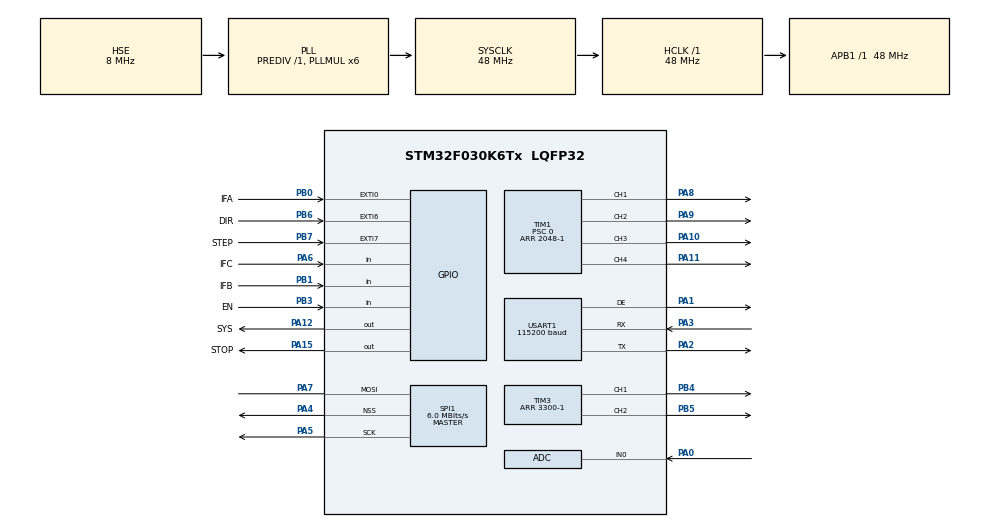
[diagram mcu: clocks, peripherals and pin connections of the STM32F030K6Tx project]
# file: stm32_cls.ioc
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ADC.ClockPrescaler=ADC_CLOCK_ASYNC_DIV1
ADC.ContinuousConvMode=ENABLE
ADC.DMAContinuousRequests=ENABLE
ADC.DataAlign=ADC_DATAALIGN_RIGHT
ADC.DiscontinuousConvMode=DISABLE
ADC.EOCSelection=ADC_EOC_SEQ_CONV
ADC.EnableAnalogWatchDog=false
ADC.ExternalTrigConv=ADC_SOFTWARE_START
ADC.ExternalTrigConvEdge=ADC_EXTERNALTRIGCONVEDGE_NONE
ADC.LowPowerAutoPowerOff=DISABLE
ADC.LowPowerAutoWait=DISABLE
ADC.Overrun=ADC_OVR_DATA_PRESERVED
ADC.Resolution=ADC_RESOLUTION_12B
ADC.SamplingTime=ADC_SAMPLETIME_55CYCLES_5
ADC.ScanConvMode=ADC_SCAN_DIRECTION_FORWARD
Dma.ADC.0.Direction=DMA_PERIPH_TO_MEMORY
Dma.ADC.0.Instance=DMA1_Channel1
Dma.ADC.0.MemDataAlignment=DMA_MDATAALIGN_HALFWORD
Dma.ADC.0.MemInc=DMA_MINC_ENABLE
Dma.ADC.0.Mode=DMA_CIRCULAR
Dma.ADC.0.PeriphDataAlignment=DMA_PDATAALIGN_HALFWORD
Dma.ADC.0.PeriphInc=DMA_PINC_DISABLE
Dma.ADC.0.Priority=DMA_PRIORITY_LOW
Dma.Request0=ADC
Dma.Request1=USART1_RX
Dma.Request2=USART1_TX
Dma.USART1_RX.1.Direction=DMA_PERIPH_TO_MEMORY
Dma.USART1_RX.1.Instance=DMA1_Channel3
Dma.USART1_RX.1.MemDataAlignment=DMA_MDATAALIGN_BYTE
Dma.USART1_RX.1.MemInc=DMA_MINC_ENABLE
Dma.USART1_RX.1.Mode=DMA_NORMAL
Dma.USART1_RX.1.PeriphDataAlignment=DMA_PDATAALIGN_BYTE
Dma.USART1_RX.1.PeriphInc=DMA_PINC_DISABLE
Dma.USART1_RX.1.Priority=DMA_PRIORITY_LOW
Dma.USART1_TX.2.Direction=DMA_MEMORY_TO_PERIPH
Dma.USART1_TX.2.Instance=DMA1_Channel2
Dma.USART1_TX.2.MemDataAlignment=DMA_MDATAALIGN_BYTE
Dma.USART1_TX.2.MemInc=DMA_MINC_ENABLE
Dma.USART1_TX.2.Mode=DMA_CIRCULAR
Dma.USART1_TX.2.PeriphDataAlignment=DMA_PDATAALIGN_BYTE
Dma.USART1_TX.2.PeriphInc=DMA_PINC_DISABLE
Dma.USART1_TX.2.Priority=DMA_PRIORITY_LOW
Mcu.Family=STM32F0
Mcu.Name=STM32F030K6Tx
Mcu.Package=LQFP32
NVIC.DMA1_Channel1_IRQn=true\:0\:0\:false\:false\:true\:true
NVIC.DMA1_Channel2_3_IRQn=true\:0\:0\:false\:false\:true\:true
NVIC.EXTI0_1_IRQn=true\:0\:0\:false\:false\:true\:true
NVIC.EXTI4_15_IRQn=true\:0\:0\:false\:false\:true\:true
NVIC.USART1_IRQn=true\:0\:0\:false\:false\:true\:true
PA0.Mode=IN0
PA0.Signal=ADC_IN0
PA1.Mode=Hardware Flow Control (RS485)
PA1.Signal=USART1_DE
PA10.GPIO_ModeDefaultPP=GPIO_MODE_AF_PP
PA10.GPIO_PuPd=GPIO_PULLUP
PA10.GPIO_Speed=GPIO_SPEED_FREQ_HIGH
PA10.Signal=S_TIM1_CH3
PA11.GPIO_ModeDefaultPP=GPIO_MODE_AF_PP
PA11.GPIO_PuPd=GPIO_PULLUP
PA11.GPIO_Speed=GPIO_SPEED_FREQ_HIGH
PA11.Signal=S_TIM1_CH4
PA12.GPIO_Label=SYS
PA12.Signal=GPIO_Output
PA13.Mode=Serial_Wire
PA13.Signal=SYS_SWDIO
PA14.Mode=Serial_Wire
PA14.Signal=SYS_SWCLK
PA15.GPIO_Label=STOP
PA15.GPIO_PuPd=GPIO_PULLUP
PA15.Signal=GPIO_Output
PA2.Mode=Asynchronous
PA2.Signal=USART1_TX
PA3.Mode=Asynchronous
PA3.Signal=USART1_RX
PA4.GPIO_PuPd=GPIO_PULLUP
PA4.Mode=NSS_Signal_Hard_Output
PA4.Signal=SPI1_NSS
PA5.GPIO_PuPd=GPIO_PULLUP
PA5.Mode=Simplex_Bidirectional_Master
PA5.Signal=SPI1_SCK
PA6.GPIO_Label=IFC
PA6.Signal=GPIO_Input
PA7.GPIO_PuPd=GPIO_PULLUP
PA7.Mode=Simplex_Bidirectional_Master
PA7.Signal=SPI1_MOSI
PA8.GPIO_ModeDefaultPP=GPIO_MODE_AF_PP
PA8.GPIO_PuPd=GPIO_PULLUP
PA8.GPIO_Speed=GPIO_SPEED_FREQ_HIGH
PA8.Signal=S_TIM1_CH1
PA9.GPIO_ModeDefaultPP=GPIO_MODE_AF_PP
PA9.GPIO_PuPd=GPIO_PULLUP
PA9.GPIO_Speed=GPIO_SPEED_FREQ_HIGH
PA9.Signal=S_TIM1_CH2
PB0.GPIO_Label=IFA
PB0.GPIO_PuPd=GPIO_PULLUP
PB0.Signal=GPXTI0
PB1.GPIO_Label=IFB
PB1.GPIO_PuPd=GPIO_PULLUP
PB1.Signal=GPIO_Input
PB3.GPIO_Label=EN
PB3.GPIO_PuPd=GPIO_PULLUP
PB3.Signal=GPIO_Input
PB4.GPIO_PuPd=GPIO_PULLDOWN
PB4.GPIO_Speed=GPIO_SPEED_FREQ_HIGH
PB4.Signal=S_TIM3_CH1
PB5.GPIO_PuPd=GPIO_PULLDOWN
PB5.GPIO_Speed=GPIO_SPEED_FREQ_HIGH
PB5.Signal=S_TIM3_CH2
PB6.GPIO_Label=DIR
PB6.GPIO_PuPd=GPIO_PULLUP
PB6.Signal=GPXTI6
PB7.GPIO_Label=STEP
PB7.GPIO_PuPd=GPIO_PULLUP
PB7.Signal=GPXTI7
PF0-OSC_IN.Mode=HSE-External-Oscillator
PF0-OSC_IN.Signal=RCC_OSC_IN
PF1-OSC_OUT.Mode=HSE-External-Oscillator
PF1-OSC_OUT.Signal=RCC_OSC_OUT
ProjectManager.HeapSize=0x200
ProjectManager.StackSize=0x400
ProjectManager.TargetToolchain=MDK-ARM V5
RCC.AHBFreq_Value=48000000
RCC.APB1Freq_Value=48000000
RCC.APB1TimFreq_Value=48000000
RCC.HCLKFreq_Value=48000000
RCC.PLLMUL=RCC_PLL_MUL6
RCC.PLLSourceVirtual=RCC_PLLSOURCE_HSE
RCC.SYSCLKFreq_VALUE=48000000
RCC.SYSCLKSource=RCC_SYSCLKSOURCE_PLLCLK
SH.S_TIM1_CH1.0=TIM1_CH1,PWM Generation1 CH1
SH.S_TIM1_CH2.0=TIM1_CH2,PWM Generation2 CH2
SH.S_TIM1_CH3.0=TIM1_CH3,PWM Generation3 CH3
SH.S_TIM1_CH4.0=TIM1_CH4,PWM Generation4 CH4
SH.S_TIM3_CH1.0=TIM3_CH1,PWM Generation1 CH1
SH.S_TIM3_CH2.0=TIM3_CH2,PWM Generation2 CH2
SPI1.BaudRatePrescaler=SPI_BAUDRATEPRESCALER_8
SPI1.CLKPhase=SPI_PHASE_2EDGE
SPI1.CRCCalculation=SPI_CRCCALCULATION_DISABLE
SPI1.CalculateBaudRate=6.0 MBits/s
SPI1.DataSize=SPI_DATASIZE_16BIT
SPI1.Direction=SPI_DIRECTION_1LINE
SPI1.Mode=SPI_MODE_MASTER
SPI1.VirtualNSS=VM_NSSHARD
SPI1.VirtualType=VM_MASTER
TIM1.Channel-PWM\ Generation1\ CH1=TIM_CHANNEL_1
TIM1.Channel-PWM\ Generation2\ CH2=TIM_CHANNEL_2
TIM1.Channel-PWM\ Generation3\ CH3=TIM_CHANNEL_3
TIM1.Channel-PWM\ Generation4\ CH4=TIM_CHANNEL_4
TIM1.OCFastMode_PWM-PWM\ Generation1\ CH1=TIM_OCFAST_ENABLE
TIM1.OCFastMode_PWM-PWM\ Generation2\ CH2=TIM_OCFAST_ENABLE
TIM1.OCFastMode_PWM-PWM\ Generation3\ CH3=TIM_OCFAST_ENABLE
TIM1.OCFastMode_PWM-PWM\ Generation4\ CH4=TIM_OCFAST_ENABLE
TIM1.OCMode_PWM-PWM\ Generation3\ CH3=TIM_OCMODE_PWM1
TIM1.OCPolarity_2=TIM_OCPOLARITY_LOW
TIM1.OCPolarity_3=TIM_OCPOLARITY_HIGH
TIM1.OCPolarity_4=TIM_OCPOLARITY_LOW
TIM1.Period=2048-1
TIM1.Prescaler=0
TIM3.Channel-PWM\ Generation1\ CH1=TIM_CHANNEL_1
TIM3.Channel-PWM\ Generation2\ CH2=TIM_CHANNEL_2
TIM3.OCFastMode_PWM-PWM\ Generation1\ CH1=TIM_OCFAST_ENABLE
TIM3.OCFastMode_PWM-PWM\ Generation2\ CH2=TIM_OCFAST_ENABLE
TIM3.Period=3300-1
USART1.BaudRate=115200
USART1.VirtualMode-Asynchronous=VM_ASYNC
USART1.VirtualMode-Hardware\ Flow\ Control\ (RS485)=VM_ASYNC
VP_ADC_TempSens_Input.Mode=IN-TempSens
VP_ADC_Vref_Input.Mode=IN-Vrefint
board=stm32_cls

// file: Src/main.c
/**
  ******************************************************************************
  * @file           : main.c
  * @brief          : Main program body
  ******************************************************************************
  ** This notice applies to any and all portions of this file
  * that are not between comment pairs USER CODE BEGIN and
  * USER CODE END. Other portions of this file, whether
  * inserted by the user or by software development tools
  * are owned by their respective copyright owners.
  *
  * COPYRIGHT(c) 2018 STMicroelectronics
  *
  * Redistribution and use in source and binary forms, with or without modification,
  * are permitted provided that the following conditions are met:
  *   1. Redistributions of source code must retain the above copyright notice,
  *      this list of conditions and the following disclaimer.
  *   2. Redistributions in binary form must reproduce the above copyright notice,
  *      this list of conditions and the following disclaimer in the documentation
  *      and/or other materials provided with the distribution.
  *   3. Neither the name of STMicroelectronics nor the names of its contributors
  *      may be used to endorse or promote products derived from this software
  *      without specific prior written permission.
  *
  * THIS SOFTWARE IS PROVIDED BY THE COPYRIGHT HOLDERS AND CONTRIBUTORS "AS IS"
  * AND ANY EXPRESS OR IMPLIED WARRANTIES, INCLUDING, BUT NOT LIMITED TO, THE
  * IMPLIED WARRANTIES OF MERCHANTABILITY AND FITNESS FOR A PARTICULAR PURPOSE ARE
  * DISCLAIMED. IN NO EVENT SHALL THE COPYRIGHT HOLDER OR CONTRIBUTORS BE LIABLE
  * FOR ANY DIRECT, INDIRECT, INCIDENTAL, SPECIAL, EXEMPLARY, OR CONSEQUENTIAL
  * DAMAGES (INCLUDING, BUT NOT LIMITED TO, PROCUREMENT OF SUBSTITUTE GOODS OR
  * SERVICES; LOSS OF USE, DATA, OR PROFITS; OR BUSINESS INTERRUPTION) HOWEVER
  * CAUSED AND ON ANY THEORY OF LIABILITY, WHETHER IN CONTRACT, STRICT LIABILITY,
  * OR TORT (INCLUDING NEGLIGENCE OR OTHERWISE) ARISING IN ANY WAY OUT OF THE USE
  * OF THIS SOFTWARE, EVEN IF ADVISED OF THE POSSIBILITY OF SUCH DAMAGE.
  *
  ******************************************************************************
  */
#include "main.h"
#include "stm32f0xx_hal.h"

/* USER CODE BEGIN Includes */

#include <stdio.h>
#include "a4950.h"
#include "tle5012.h"

/* USER CODE END Includes */

ADC_HandleTypeDef hadc;
DMA_HandleTypeDef hdma_adc;

SPI_HandleTypeDef hspi1;

TIM_HandleTypeDef htim1;
TIM_HandleTypeDef htim3;

UART_HandleTypeDef huart1;
DMA_HandleTypeDef hdma_usart1_rx;
DMA_HandleTypeDef hdma_usart1_tx;

/* USER CODE BEGIN PV */
/* Private variables ---------------------------------------------------------*/

int32_t aim_pos, cur_pos;

/* USER CODE END PV */

void SystemClock_Config(void);
static void MX_GPIO_Init(void);
static void MX_DMA_Init(void);
static void MX_ADC_Init(void);
static void MX_SPI1_Init(void);
static void MX_TIM3_Init(void);
static void MX_USART1_UART_Init(void);
static void MX_TIM1_Init(void);

void HAL_TIM_MspPostInit(TIM_HandleTypeDef *htim);

/* USER CODE BEGIN PFP */
/* Private function prototypes -----------------------------------------------*/

/* USER CODE END PFP */

/* USER CODE BEGIN 0 */

int fputc(int ch, FILE *f){
	uint8_t t = ch;
	HAL_UART_Transmit(&huart1, (uint8_t *)&t, 1, 4);
	return 1;
}

void update_aim(){
	if(HAL_GPIO_ReadPin(DIR_GPIO_Port, DIR_Pin) == GPIO_PIN_RESET){
		aim_pos += 32;
		A4950_STEP(+16);
	}else{
		aim_pos -= 32;
		A4950_STEP(-16);
	}
}

void update_cur(){
	if(HAL_GPIO_ReadPin(IFB_GPIO_Port, IFB_Pin) == GPIO_PIN_SET){
		cur_pos += 25;
	}else{
		cur_pos -= 25;
	}

	//end stop detect
	if(cur_pos <= 0){
		HAL_GPIO_WritePin(STOP_GPIO_Port, STOP_Pin, GPIO_PIN_SET);
		HAL_GPIO_WritePin(SYS_GPIO_Port, SYS_Pin, GPIO_PIN_SET);
	}else{
		HAL_GPIO_WritePin(STOP_GPIO_Port, STOP_Pin, GPIO_PIN_RESET);
		HAL_GPIO_WritePin(SYS_GPIO_Port, SYS_Pin, GPIO_PIN_RESET);
	}
}

/* USER CODE END 0 */

int main(void)
{

  /* MCU Configuration----------------------------------------------------------*/

  /* Reset of all peripherals, Initializes the Flash interface and the Systick. */
  HAL_Init();

  /* Configure the system clock */
  SystemClock_Config();

  /* Initialize all configured peripherals */
  MX_GPIO_Init();
  MX_DMA_Init();
  MX_ADC_Init();
  MX_SPI1_Init();
  MX_TIM3_Init();
  MX_USART1_UART_Init();
  MX_TIM1_Init();
  /* USER CODE BEGIN 2 */

	TLE5012_INIT();
	A4950_INIT();

	for(int i=0;i<512;i++){
		A4950_STEP(8);
		HAL_Delay(1);
	}

	GPIO_PinState last_en_pin_state;
	last_en_pin_state = HAL_GPIO_ReadPin(EN_GPIO_Port, EN_Pin);
	A4950_EN(HAL_GPIO_ReadPin(EN_GPIO_Port, EN_Pin));

  /* USER CODE END 2 */

  /* Infinite loop */
  /* USER CODE BEGIN WHILE */

	int offset_pos = TLE5012_GET_POS()/8*25;
	aim_pos = 0;
	cur_pos = 0;

	while (1){
  /* USER CODE END WHILE */

  /* USER CODE BEGIN 3 */

		//check if enable pin
		GPIO_PinState en_pin_state = HAL_GPIO_ReadPin(EN_GPIO_Port, EN_Pin);
		if(en_pin_state != last_en_pin_state && en_pin_state == GPIO_PIN_SET){
			last_en_pin_state = en_pin_state;
			A4950_EN(1);//enable motor
			aim_pos = cur_pos;//reset pos
		}
		if(en_pin_state == GPIO_PIN_RESET){
			last_en_pin_state = en_pin_state;
			A4950_EN(0);//disable motor
			continue;
		}

		//cal angle
		int cal_pos = TLE5012_GET_POS()/8*25 - offset_pos;
		if(cur_pos - cal_pos < -16 || cur_pos - cal_pos > 16){
			cur_pos = cal_pos;
		}

		//printf("%d %d\n\r", cur_pos, aim_pos);

		static uint8_t lost_tag = 0;
		int diff_pos = cur_pos - aim_pos;
		if(diff_pos < -512 || diff_pos > 512){
			lost_tag = 1;
			HAL_GPIO_WritePin(SYS_GPIO_Port, SYS_Pin, GPIO_PIN_SET);//LED ON
		}
		if(lost_tag == 1){
			if(diff_pos < 0){
				A4950_STEP(1);
			}else if(diff_pos > 0){
				A4950_STEP(-1);
			}
			if(diff_pos > -32 && diff_pos < 32){
				lost_tag = 0;
				HAL_GPIO_WritePin(SYS_GPIO_Port, SYS_Pin, GPIO_PIN_RESET);//LED OFF
			}
		}
	}
  /* USER CODE END 3 */

}

void SystemClock_Config(void)
{

  RCC_OscInitTypeDef RCC_OscInitStruct;
  RCC_ClkInitTypeDef RCC_ClkInitStruct;
  RCC_PeriphCLKInitTypeDef PeriphClkInit;

    /**Initializes the CPU, AHB and APB busses clocks
    */
  RCC_OscInitStruct.OscillatorType = RCC_OSCILLATORTYPE_HSI14|RCC_OSCILLATORTYPE_HSE;
  RCC_OscInitStruct.HSEState = RCC_HSE_ON;
  RCC_OscInitStruct.HSI14State = RCC_HSI14_ON;
  RCC_OscInitStruct.HSI14CalibrationValue = 16;
  RCC_OscInitStruct.PLL.PLLState = RCC_PLL_ON;
  RCC_OscInitStruct.PLL.PLLSource = RCC_PLLSOURCE_HSE;
  RCC_OscInitStruct.PLL.PLLMUL = RCC_PLL_MUL6;
  RCC_OscInitStruct.PLL.PREDIV = RCC_PREDIV_DIV1;
  if (HAL_RCC_OscConfig(&RCC_OscInitStruct) != HAL_OK)
  {
    _Error_Handler(__FILE__, __LINE__);
  }

    /**Initializes the CPU, AHB and APB busses clocks
    */
  RCC_ClkInitStruct.ClockType = RCC_CLOCKTYPE_HCLK|RCC_CLOCKTYPE_SYSCLK
                              |RCC_CLOCKTYPE_PCLK1;
  RCC_ClkInitStruct.SYSCLKSource = RCC_SYSCLKSOURCE_PLLCLK;
  RCC_ClkInitStruct.AHBCLKDivider = RCC_SYSCLK_DIV1;
  RCC_ClkInitStruct.APB1CLKDivider = RCC_HCLK_DIV1;

  if (HAL_RCC_ClockConfig(&RCC_ClkInitStruct, FLASH_LATENCY_1) != HAL_OK)
  {
    _Error_Handler(__FILE__, __LINE__);
  }

  PeriphClkInit.PeriphClockSelection = RCC_PERIPHCLK_USART1;
  PeriphClkInit.Usart1ClockSelection = RCC_USART1CLKSOURCE_PCLK1;
  if (HAL_RCCEx_PeriphCLKConfig(&PeriphClkInit) != HAL_OK)
  {
    _Error_Handler(__FILE__, __LINE__);
  }

    /**Configure the Systick interrupt time
    */
  HAL_SYSTICK_Config(HAL_RCC_GetHCLKFreq()/1000);

    /**Configure the Systick
    */
  HAL_SYSTICK_CLKSourceConfig(SYSTICK_CLKSOURCE_HCLK);

  /* SysTick_IRQn interrupt configuration */
  HAL_NVIC_SetPriority(SysTick_IRQn, 0, 0);
}

/* ADC init function */
static void MX_ADC_Init(void)
{

  ADC_ChannelConfTypeDef sConfig;

    /**Configure the global features of the ADC (Clock, Resolution, Data Alignment and number of conversion)
    */
  hadc.Instance = ADC1;
  hadc.Init.ClockPrescaler = ADC_CLOCK_ASYNC_DIV1;
  hadc.Init.Resolution = ADC_RESOLUTION_12B;
  hadc.Init.DataAlign = ADC_DATAALIGN_RIGHT;
  hadc.Init.ScanConvMode = ADC_SCAN_DIRECTION_FORWARD;
  hadc.Init.EOCSelection = ADC_EOC_SEQ_CONV;
  hadc.Init.LowPowerAutoWait = DISABLE;
  hadc.Init.LowPowerAutoPowerOff = DISABLE;
  hadc.Init.ContinuousConvMode = ENABLE;
  hadc.Init.DiscontinuousConvMode = DISABLE;
  hadc.Init.ExternalTrigConv = ADC_SOFTWARE_START;
  hadc.Init.ExternalTrigConvEdge = ADC_EXTERNALTRIGCONVEDGE_NONE;
  hadc.Init.DMAContinuousRequests = ENABLE;
  hadc.Init.Overrun = ADC_OVR_DATA_PRESERVED;
  if (HAL_ADC_Init(&hadc) != HAL_OK)
  {
    _Error_Handler(__FILE__, __LINE__);
  }

    /**Configure for the selected ADC regular channel to be converted.
    */
  sConfig.Channel = ADC_CHANNEL_0;
  sConfig.Rank = ADC_RANK_CHANNEL_NUMBER;
  sConfig.SamplingTime = ADC_SAMPLETIME_55CYCLES_5;
  if (HAL_ADC_ConfigChannel(&hadc, &sConfig) != HAL_OK)
  {
    _Error_Handler(__FILE__, __LINE__);
  }

    /**Configure for the selected ADC regular channel to be converted.
    */
  sConfig.Channel = ADC_CHANNEL_TEMPSENSOR;
  if (HAL_ADC_ConfigChannel(&hadc, &sConfig) != HAL_OK)
  {
    _Error_Handler(__FILE__, __LINE__);
  }

    /**Configure for the selected ADC regular channel to be converted.
    */
  sConfig.Channel = ADC_CHANNEL_VREFINT;
  if (HAL_ADC_ConfigChannel(&hadc, &sConfig) != HAL_OK)
  {
    _Error_Handler(__FILE__, __LINE__);
  }

}

/* SPI1 init function */
static void MX_SPI1_Init(void)
{

  /* SPI1 parameter configuration*/
  hspi1.Instance = SPI1;
  hspi1.Init.Mode = SPI_MODE_MASTER;
  hspi1.Init.Direction = SPI_DIRECTION_1LINE;
  hspi1.Init.DataSize = SPI_DATASIZE_16BIT;
  hspi1.Init.CLKPolarity = SPI_POLARITY_LOW;
  hspi1.Init.CLKPhase = SPI_PHASE_2EDGE;
  hspi1.Init.NSS = SPI_NSS_HARD_OUTPUT;
  hspi1.Init.BaudRatePrescaler = SPI_BAUDRATEPRESCALER_8;
  hspi1.Init.FirstBit = SPI_FIRSTBIT_MSB;
  hspi1.Init.TIMode = SPI_TIMODE_DISABLE;
  hspi1.Init.CRCCalculation = SPI_CRCCALCULATION_DISABLE;
  hspi1.Init.CRCPolynomial = 7;
  hspi1.Init.CRCLength = SPI_CRC_LENGTH_DATASIZE;
  hspi1.Init.NSSPMode = SPI_NSS_PULSE_DISABLE;
  if (HAL_SPI_Init(&hspi1) != HAL_OK)
  {
    _Error_Handler(__FILE__, __LINE__);
  }

}

/* TIM1 init function */
static void MX_TIM1_Init(void)
{

  TIM_MasterConfigTypeDef sMasterConfig;
  TIM_OC_InitTypeDef sConfigOC;
  TIM_BreakDeadTimeConfigTypeDef sBreakDeadTimeConfig;

  htim1.Instance = TIM1;
  htim1.Init.Prescaler = 0;
  htim1.Init.CounterMode = TIM_COUNTERMODE_UP;
  htim1.Init.Period = 2048-1;
  htim1.Init.ClockDivision = TIM_CLOCKDIVISION_DIV1;
  htim1.Init.RepetitionCounter = 0;
  htim1.Init.AutoReloadPreload = TIM_AUTORELOAD_PRELOAD_DISABLE;
  if (HAL_TIM_PWM_Init(&htim1) != HAL_OK)
  {
    _Error_Handler(__FILE__, __LINE__);
  }

  sMasterConfig.MasterOutputTrigger = TIM_TRGO_RESET;
  sMasterConfig.MasterSlaveMode = TIM_MASTERSLAVEMODE_DISABLE;
  if (HAL_TIMEx_MasterConfigSynchronization(&htim1, &sMasterConfig) != HAL_OK)
  {
    _Error_Handler(__FILE__, __LINE__);
  }

  sConfigOC.OCMode = TIM_OCMODE_PWM1;
  sConfigOC.Pulse = 0;
  sConfigOC.OCPolarity = TIM_OCPOLARITY_HIGH;
  sConfigOC.OCNPolarity = TIM_OCNPOLARITY_HIGH;
  sConfigOC.OCFastMode = TIM_OCFAST_ENABLE;
  sConfigOC.OCIdleState = TIM_OCIDLESTATE_RESET;
  sConfigOC.OCNIdleState = TIM_OCNIDLESTATE_RESET;
  if (HAL_TIM_PWM_ConfigChannel(&htim1, &sConfigOC, TIM_CHANNEL_1) != HAL_OK)
  {
    _Error_Handler(__FILE__, __LINE__);
  }

  sConfigOC.OCPolarity = TIM_OCPOLARITY_LOW;
  if (HAL_TIM_PWM_ConfigChannel(&htim1, &sConfigOC, TIM_CHANNEL_2) != HAL_OK)
  {
    _Error_Handler(__FILE__, __LINE__);
  }

  sConfigOC.OCPolarity = TIM_OCPOLARITY_HIGH;
  if (HAL_TIM_PWM_ConfigChannel(&htim1, &sConfigOC, TIM_CHANNEL_3) != HAL_OK)
  {
    _Error_Handler(__FILE__, __LINE__);
  }

  sConfigOC.OCPolarity = TIM_OCPOLARITY_LOW;
  if (HAL_TIM_PWM_ConfigChannel(&htim1, &sConfigOC, TIM_CHANNEL_4) != HAL_OK)
  {
    _Error_Handler(__FILE__, __LINE__);
  }

  sBreakDeadTimeConfig.OffStateRunMode = TIM_OSSR_DISABLE;
  sBreakDeadTimeConfig.OffStateIDLEMode = TIM_OSSI_DISABLE;
  sBreakDeadTimeConfig.LockLevel = TIM_LOCKLEVEL_OFF;
  sBreakDeadTimeConfig.DeadTime = 0;
  sBreakDeadTimeConfig.BreakState = TIM_BREAK_DISABLE;
  sBreakDeadTimeConfig.BreakPolarity = TIM_BREAKPOLARITY_HIGH;
  sBreakDeadTimeConfig.AutomaticOutput = TIM_AUTOMATICOUTPUT_DISABLE;
  if (HAL_TIMEx_ConfigBreakDeadTime(&htim1, &sBreakDeadTimeConfig) != HAL_OK)
  {
    _Error_Handler(__FILE__, __LINE__);
  }

  HAL_TIM_MspPostInit(&htim1);

}

/* TIM3 init function */
static void MX_TIM3_Init(void)
{

  TIM_MasterConfigTypeDef sMasterConfig;
  TIM_OC_InitTypeDef sConfigOC;

  htim3.Instance = TIM3;
  htim3.Init.Prescaler = 0;
  htim3.Init.CounterMode = TIM_COUNTERMODE_UP;
  htim3.Init.Period = 3300-1;
  htim3.Init.ClockDivision = TIM_CLOCKDIVISION_DIV1;
  htim3.Init.AutoReloadPreload = TIM_AUTORELOAD_PRELOAD_DISABLE;
  if (HAL_TIM_PWM_Init(&htim3) != HAL_OK)
  {
    _Error_Handler(__FILE__, __LINE__);
  }

  sMasterConfig.MasterOutputTrigger = TIM_TRGO_RESET;
  sMasterConfig.MasterSlaveMode = TIM_MASTERSLAVEMODE_DISABLE;
  if (HAL_TIMEx_MasterConfigSynchronization(&htim3, &sMasterConfig) != HAL_OK)
  {
    _Error_Handler(__FILE__, __LINE__);
  }

  sConfigOC.OCMode = TIM_OCMODE_PWM1;
  sConfigOC.Pulse = 0;
  sConfigOC.OCPolarity = TIM_OCPOLARITY_HIGH;
  sConfigOC.OCFastMode = TIM_OCFAST_ENABLE;
  if (HAL_TIM_PWM_ConfigChannel(&htim3, &sConfigOC, TIM_CHANNEL_1) != HAL_OK)
  {
    _Error_Handler(__FILE__, __LINE__);
  }

  if (HAL_TIM_PWM_ConfigChannel(&htim3, &sConfigOC, TIM_CHANNEL_2) != HAL_OK)
  {
    _Error_Handler(__FILE__, __LINE__);
  }

  HAL_TIM_MspPostInit(&htim3);

}

/* USART1 init function */
static void MX_USART1_UART_Init(void)
{

  huart1.Instance = USART1;
  huart1.Init.BaudRate = 115200;
  huart1.Init.WordLength = UART_WORDLENGTH_8B;
  huart1.Init.StopBits = UART_STOPBITS_1;
  huart1.Init.Parity = UART_PARITY_NONE;
  huart1.Init.Mode = UART_MODE_TX_RX;
  huart1.Init.HwFlowCtl = UART_HWCONTROL_NONE;
  huart1.Init.OverSampling = UART_OVERSAMPLING_16;
  huart1.Init.OneBitSampling = UART_ONE_BIT_SAMPLE_DISABLE;
  huart1.AdvancedInit.AdvFeatureInit = UART_ADVFEATURE_NO_INIT;
  if (HAL_RS485Ex_Init(&huart1, UART_DE_POLARITY_HIGH, 0, 0) != HAL_OK)
  {
    _Error_Handler(__FILE__, __LINE__);
  }

}

static void MX_DMA_Init(void)
{
  /* DMA controller clock enable */
  __HAL_RCC_DMA1_CLK_ENABLE();

  /* DMA interrupt init */
  /* DMA1_Channel1_IRQn interrupt configuration */
  HAL_NVIC_SetPriority(DMA1_Channel1_IRQn, 0, 0);
  HAL_NVIC_EnableIRQ(DMA1_Channel1_IRQn);
  /* DMA1_Channel2_3_IRQn interrupt configuration */
  HAL_NVIC_SetPriority(DMA1_Channel2_3_IRQn, 0, 0);
  HAL_NVIC_EnableIRQ(DMA1_Channel2_3_IRQn);

}

/** Configure pins as
        * Analog
        * Input
        * Output
        * EVENT_OUT
        * EXTI
*/
static void MX_GPIO_Init(void)
{

  GPIO_InitTypeDef GPIO_InitStruct;

  /* GPIO Ports Clock Enable */
  __HAL_RCC_GPIOF_CLK_ENABLE();
  __HAL_RCC_GPIOA_CLK_ENABLE();
  __HAL_RCC_GPIOB_CLK_ENABLE();

  /*Configure GPIO pin Output Level */
  HAL_GPIO_WritePin(GPIOA, SYS_Pin|STOP_Pin, GPIO_PIN_RESET);

  /*Configure GPIO pin : IFC_Pin */
  GPIO_InitStruct.Pin = IFC_Pin;
  GPIO_InitStruct.Mode = GPIO_MODE_INPUT;
  GPIO_InitStruct.Pull = GPIO_NOPULL;
  HAL_GPIO_Init(IFC_GPIO_Port, &GPIO_InitStruct);

  /*Configure GPIO pins : IFA_Pin DIR_Pin STEP_Pin */
  GPIO_InitStruct.Pin = IFA_Pin|DIR_Pin|STEP_Pin;
  GPIO_InitStruct.Mode = GPIO_MODE_IT_RISING;
  GPIO_InitStruct.Pull = GPIO_PULLUP;
  HAL_GPIO_Init(GPIOB, &GPIO_InitStruct);

  /*Configure GPIO pins : IFB_Pin EN_Pin */
  GPIO_InitStruct.Pin = IFB_Pin|EN_Pin;
  GPIO_InitStruct.Mode = GPIO_MODE_INPUT;
  GPIO_InitStruct.Pull = GPIO_PULLUP;
  HAL_GPIO_Init(GPIOB, &GPIO_InitStruct);

  /*Configure GPIO pin : SYS_Pin */
  GPIO_InitStruct.Pin = SYS_Pin;
  GPIO_InitStruct.Mode = GPIO_MODE_OUTPUT_PP;
  GPIO_InitStruct.Pull = GPIO_NOPULL;
  GPIO_InitStruct.Speed = GPIO_SPEED_FREQ_LOW;
  HAL_GPIO_Init(SYS_GPIO_Port, &GPIO_InitStruct);

  /*Configure GPIO pin : STOP_Pin */
  GPIO_InitStruct.Pin = STOP_Pin;
  GPIO_InitStruct.Mode = GPIO_MODE_OUTPUT_PP;
  GPIO_InitStruct.Pull = GPIO_PULLUP;
  GPIO_InitStruct.Speed = GPIO_SPEED_FREQ_LOW;
  HAL_GPIO_Init(STOP_GPIO_Port, &GPIO_InitStruct);

  /* EXTI interrupt init*/
  HAL_NVIC_SetPriority(EXTI0_1_IRQn, 0, 0);
  HAL_NVIC_EnableIRQ(EXTI0_1_IRQn);

  HAL_NVIC_SetPriority(EXTI4_15_IRQn, 0, 0);
  HAL_NVIC_EnableIRQ(EXTI4_15_IRQn);

}

/* USER CODE BEGIN 4 */
void HAL_GPIO_EXTI_Callback(uint16_t GPIO_Pin)
{
	switch(GPIO_Pin){
		case STEP_Pin:
			update_aim();
			break;
		case IFA_Pin:
			update_cur();
			break;
	}
}

/* USER CODE END 4 */

void _Error_Handler(char *file, int line)
{
  while(1)
  {
  }
}

/************************ (C) COPYRIGHT STMicroelectronics *****END OF FILE****/
